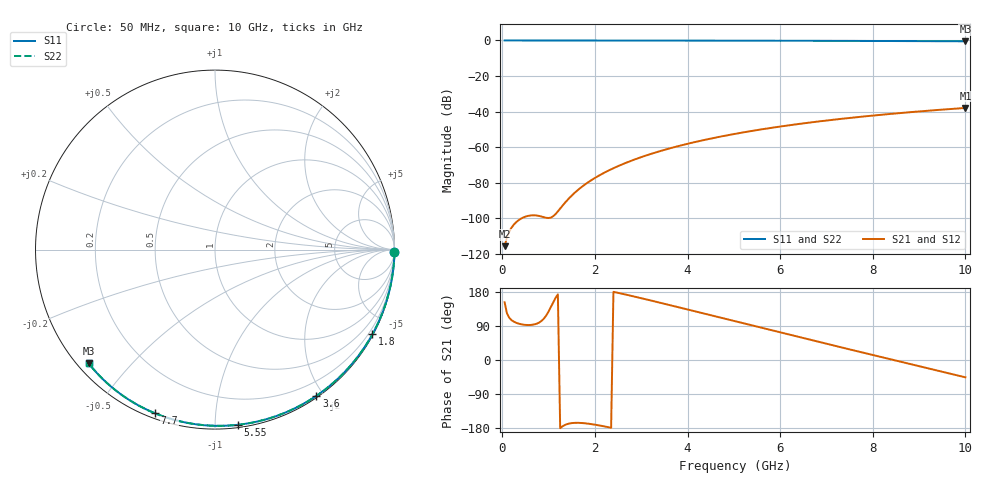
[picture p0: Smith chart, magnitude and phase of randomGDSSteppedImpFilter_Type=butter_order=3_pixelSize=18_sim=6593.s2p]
! freq	dB(S11)	phase(S11)	dB(S12)	phase(S12)
!  dB(S21)	phase(S21)	dB(S22)	phase(S22)
!S-par simulation data
#  GHz  S  DB  R 50
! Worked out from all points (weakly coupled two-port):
!   200 points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, 50 MHz to 10 GHz, reference 50 ohm
!   highest |S21| = -37.91 dB at 10 GHz (marker M1); lowest = -115.5 dB at 50 MHz (marker M2)
!   lowest |S11| = -0.5 dB at 10 GHz (marker M3), VSWR 36.90, Z = 1.55 - j19.2 ohm
!   |S11| at or under -10 dB: nowhere
!   |S22| runs from -0.5 to 0.0 dB; largest |S21 - S12| = 0
!   S11 on the Smith chart (normalised r, x): 50 MHz: open; 1.8 GHz: 0.03, -3.97; 3.6 GHz: 0.02, -1.91; 5.55 GHz: 0.02, -1.14; 7.7 GHz: 0.02, -0.70; 10 GHz: 0.03, -0.38
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0.05  -0.00 -0.8  -115.55 152.3  -115.55 152.3  -0.00 -0.8
0.45  -0.01 -7.2  -99.46 93.4  -99.46 93.4  -0.01 -7.2
0.9  -0.02 -14.3  -99.30 109.5  -99.30 109.5  -0.02 -14.3
1.75  -0.04 -27.5  -81.57 -166.6  -81.57 -166.6  -0.04 -27.5
1.8  -0.04 -28.3  -80.62 -167.2  -80.62 -167.2  -0.04 -28.3
1.85  -0.04 -29.1  -79.72 -167.9  -79.72 -167.9  -0.04 -29.1
2  -0.04 -31.4  -77.24 -170.6  -77.24 -170.6  -0.04 -31.4
2.15  -0.04 -33.7  -75.01 -173.9  -75.01 -173.9  -0.04 -33.7
2.35  -0.05 -36.7  -72.37 -178.8  -72.37 -178.8  -0.05 -36.7
2.55  -0.05 -39.7  -70.02 175.9  -70.02 175.9  -0.05 -39.7
2.95  -0.06 -45.7  -65.99 164.6  -65.99 164.6  -0.06 -45.7
3.4  -0.07 -52.3  -62.21 151.3  -62.21 151.3  -0.07 -52.3
3.6  -0.07 -55.3  -60.72 145.4  -60.72 145.4  -0.07 -55.3
4.3  -0.09 -65.3  -56.24 124.2  -56.24 124.2  -0.09 -65.3
5.05  -0.12 -75.7  -52.34 101.5  -52.34 101.5  -0.12 -75.7
5.55  -0.14 -82.4  -50.13 86.3  -50.13 86.3  -0.14 -82.4
6.1  -0.16 -89.7  -47.98 69.7  -47.98 69.7  -0.16 -89.7
6.7  -0.19 -97.5  -45.92 51.7  -45.92 51.7  -0.19 -97.5
7.7  -0.25 -110.1  -42.98 22.1  -42.98 22.1  -0.25 -110.1
8.35  -0.30 -118.1  -41.34 3.0  -41.34 3.0  -0.30 -118.1
9.2  -0.38 -128.3  -39.45 -22.0  -39.45 -22.0  -0.38 -128.3
10  -0.47 -138.0  -37.91 -45.8  -37.91 -45.8  -0.47 -138.0
